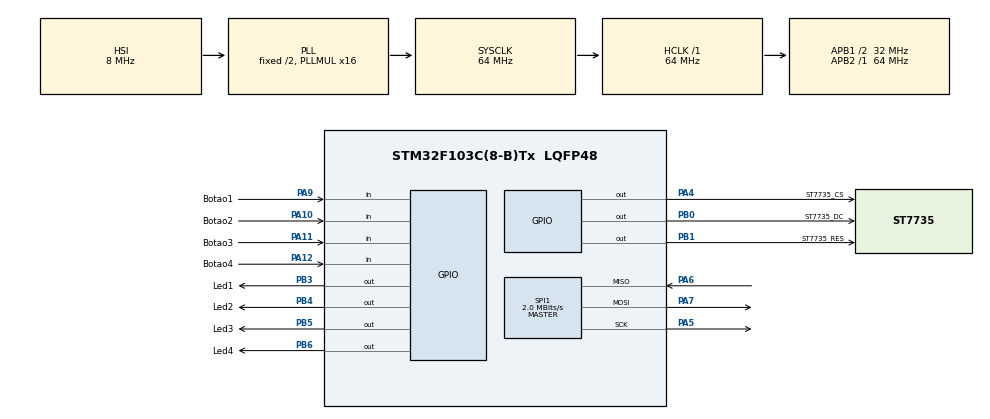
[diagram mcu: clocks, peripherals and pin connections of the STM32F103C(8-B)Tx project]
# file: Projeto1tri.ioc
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Mcu.Family=STM32F1
Mcu.Name=STM32F103C(8-B)Tx
Mcu.Package=LQFP48
NVIC.PriorityGroup=NVIC_PRIORITYGROUP_4
PA10.GPIO_Label=Botao2
PA10.GPIO_PuPd=GPIO_PULLUP
PA10.Signal=GPIO_Input
PA11.GPIO_Label=Botao3
PA11.GPIO_PuPd=GPIO_PULLUP
PA11.Signal=GPIO_Input
PA12.GPIO_Label=Botao4
PA12.GPIO_PuPd=GPIO_PULLUP
PA12.Signal=GPIO_Input
PA13.Mode=Serial_Wire
PA13.Signal=SYS_JTMS-SWDIO
PA14.Mode=Serial_Wire
PA14.Signal=SYS_JTCK-SWCLK
PA4.GPIO_Label=ST7735_CS 
PA4.Signal=GPIO_Output
PA5.Mode=Full_Duplex_Master
PA5.Signal=SPI1_SCK
PA6.Mode=Full_Duplex_Master
PA6.Signal=SPI1_MISO
PA7.Mode=Full_Duplex_Master
PA7.Signal=SPI1_MOSI
PA9.GPIO_Label=Botao1
PA9.GPIO_PuPd=GPIO_PULLUP
PA9.Signal=GPIO_Input
PB0.GPIO_Label=ST7735_DC
PB0.Signal=GPIO_Output
PB1.GPIO_Label=ST7735_RES
PB1.Signal=GPIO_Output
PB3.GPIO_Label=Led1
PB3.Signal=GPIO_Output
PB4.GPIO_Label=Led2
PB4.Signal=GPIO_Output
PB5.GPIO_Label=Led3
PB5.Signal=GPIO_Output
PB6.GPIO_Label=Led4
PB6.Signal=GPIO_Output
ProjectManager.HeapSize=0x200
ProjectManager.StackSize=0x400
ProjectManager.TargetToolchain=STM32CubeIDE
RCC.AHBFreq_Value=64000000
RCC.APB1CLKDivider=RCC_HCLK_DIV2
RCC.APB1Freq_Value=32000000
RCC.APB1TimFreq_Value=64000000
RCC.APB2Freq_Value=64000000
RCC.APB2TimFreq_Value=64000000
RCC.HCLKFreq_Value=64000000
RCC.PLLMUL=RCC_PLL_MUL16
RCC.SYSCLKFreq_VALUE=64000000
RCC.SYSCLKSource=RCC_SYSCLKSOURCE_PLLCLK
RCC.USBFreq_Value=64000000
SPI1.BaudRatePrescaler=SPI_BAUDRATEPRESCALER_32
SPI1.CLKPolarity=SPI_POLARITY_LOW
SPI1.CalculateBaudRate=2.0 MBits/s
SPI1.Direction=SPI_DIRECTION_2LINES
SPI1.Mode=SPI_MODE_MASTER
SPI1.VirtualType=VM_MASTER
board=custom

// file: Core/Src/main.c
/* USER CODE BEGIN Header */
/**
  ******************************************************************************
  * @file           : main.c
  * @brief          : Controle de Sala de Aula
  ******************************************************************************
  * @attention
  *
  * <h2><center>&copy; Copyright (c) 2026 STMicroelectronics.
  * All rights reserved.</center></h2>
  *
  * This software component is licensed by ST under BSD 3-Clause license,
  * the "License"; You may not use this file except in compliance with the
  * License. You may obtain a copy of the License at:
  *                        opensource.org/licenses/BSD-3-Clause
  *
  ******************************************************************************
  */
/* USER CODE END Header */

#include "main.h"
#include "st7735\st7735.h"
#include <stdlib.h>
#include <stdio.h>

/* USER CODE BEGIN PD */
#define LerB1 HAL_GPIO_ReadPin(Botao1_GPIO_Port, Botao1_Pin)
#define LerB2 HAL_GPIO_ReadPin(Botao2_GPIO_Port, Botao2_Pin)
#define LerB3 HAL_GPIO_ReadPin(Botao3_GPIO_Port, Botao3_Pin)
#define LerB4 HAL_GPIO_ReadPin(Botao4_GPIO_Port, Botao4_Pin)

#define LIGA_L1    HAL_GPIO_WritePin(Led1_GPIO_Port, Led1_Pin, GPIO_PIN_SET)
#define DESLIGA_L1 HAL_GPIO_WritePin(Led1_GPIO_Port, Led1_Pin, GPIO_PIN_RESET)
#define INVERTE_L1 HAL_GPIO_TogglePin(Led1_GPIO_Port, Led1_Pin)

#define LIGA_L2    HAL_GPIO_WritePin(Led2_GPIO_Port, Led2_Pin, GPIO_PIN_SET)
#define DESLIGA_L2 HAL_GPIO_WritePin(Led2_GPIO_Port, Led2_Pin, GPIO_PIN_RESET)
#define INVERTE_L2 HAL_GPIO_TogglePin(Led2_GPIO_Port, Led2_Pin)

#define LIGA_L3    HAL_GPIO_WritePin(Led3_GPIO_Port, Led3_Pin, GPIO_PIN_SET)
#define DESLIGA_L3 HAL_GPIO_WritePin(Led3_GPIO_Port, Led3_Pin, GPIO_PIN_RESET)
#define INVERTE_L3 HAL_GPIO_TogglePin(Led3_GPIO_Port, Led3_Pin)

#define LIGA_L4    HAL_GPIO_WritePin(Led4_GPIO_Port, Led4_Pin, GPIO_PIN_SET)
#define DESLIGA_L4 HAL_GPIO_WritePin(Led4_GPIO_Port, Led4_Pin, GPIO_PIN_RESET)
#define INVERTE_L4 HAL_GPIO_TogglePin(Led4_GPIO_Port, Led4_Pin)
/* USER CODE END PD */

/* USER CODE BEGIN PV */
int maxAlunos       = 10;
int maxFora         = 3;
int alunosPresentes = 0;
int alunosFora      = 0;
int totalSaidas     = 0;
int senhaGerada = 0;
int senhaDigitada   = 0;
int tentativas      = 0;
int digitos[4]      = {0, 0, 0, 0};
int posicao         = 0;
int limpouTela      = 0;
int matriculas[50];
char texto[50];
volatile int novaMatricula = 0;
GPIO_PinState B1, B2, B3, B4;

uint32_t inicioAula     = 0;
uint32_t fimAula        = 0;
uint32_t inicioSaida    = 0;
uint32_t tempoTotalFora = 0;
uint32_t duracaoAula    = 0;
/* USER CODE END PV */

SPI_HandleTypeDef hspi1;

void SystemClock_Config(void);
static void MX_GPIO_Init(void);
static void MX_SPI1_Init(void);

/* USER CODE BEGIN 0 */
void MostrarSenhaNosLEDs(void);
void ControleSaida(void);
void InterfaceSala(void);
void EsperaBotao(void);
void RelatorioFinal(void);
void ControlePresenca(void);

/* USER CODE END 0 */
int main(void)
{
    HAL_Init();
    SystemClock_Config();
    MX_GPIO_Init();
    MX_SPI1_Init();

    ST7735_Init();
    DESLIGA_L1; DESLIGA_L2; DESLIGA_L3; DESLIGA_L4;

    uint32_t seed = HAL_GetTick() ^ SysTick->VAL ^ SCB->ICSR;
    srand(seed);
    senhaGerada = rand() % 9000 + 1000;

    ST7735_FillScreen(BLACK);
    sprintf(texto, "Senha:%04d", senhaGerada);
    ST7735_WriteString(2, 10, "INICIO AULA",  Font_7x10, WHITE,  BLACK);
    ST7735_WriteString(2, 55, "P11=Iniciar",  Font_7x10, WHITE,  BLACK);
    ST7735_WriteString(2, 70, "P9=Ver Senha",  Font_7x10, GREEN,  BLACK);

    while(1)

    {
    	B1 = LerB1;
        if(B1 == GPIO_PIN_RESET)
        {
            EsperaBotao();
            MostrarSenhaNosLEDs();
        }

        B3 = LerB3;
        if(B3 == GPIO_PIN_RESET)
        {
            EsperaBotao();
            break;
        }
    }

    tentativas = 0;

    while(tentativas < 3)
    {
        for(int i = 0; i < 4; i++) digitos[i] = 0;
        posicao       = 0;
        senhaDigitada = 0;

        ST7735_FillScreen(BLACK);

        int confirmado = 0;
        while(!confirmado)
        {
            senhaDigitada =
                  digitos[0]
                + digitos[1] * 10
                + digitos[2] * 100
                + digitos[3] * 1000;

            ST7735_WriteString(2,  5, "Confirmar senha", Font_7x10, WHITE, BLACK);

            sprintf(texto, "Dig:%04d", senhaDigitada);
            ST7735_WriteString(2, 25, texto, Font_7x10, GREEN, BLACK);

            sprintf(texto, "Casa:%d", posicao + 1);
            ST7735_WriteString(2, 45, texto, Font_7x10, WHITE, BLACK);

            sprintf(texto, "Tent:%d", 3 - tentativas);
            ST7735_WriteString(2, 65, texto, Font_7x10, WHITE, BLACK);

            B1 = LerB1;
            B2 = LerB2;
            B3 = LerB3;
            B4 = LerB4;
            if(B1 == GPIO_PIN_RESET)
            {
                if(digitos[posicao] < 9) digitos[posicao]++;
                EsperaBotao();
            }
            else if(B2 == GPIO_PIN_RESET)
            {
                if(digitos[posicao] > 0) digitos[posicao]--;
                EsperaBotao();
            }

            else if(B4 == GPIO_PIN_RESET)
            {
                posicao++;
                if(posicao > 3) posicao = 0;
                EsperaBotao();
            }

            else if(B3 == GPIO_PIN_RESET)
            {
                EsperaBotao();
                confirmado = 1;
            }
        }

        if(senhaDigitada == senhaGerada)
        {
            inicioAula = HAL_GetTick();
            ST7735_FillScreen(BLACK);
            ST7735_WriteString(2, 35, "AULA INICIADA", Font_7x10, GREEN, BLACK);
            LIGA_L1;
            HAL_Delay(1500);
            DESLIGA_L1;
            break;
        }
        else
        {
            tentativas++;
            ST7735_FillScreen(BLACK);

            if(tentativas < 3)
            {
                ST7735_WriteString(2, 35, "SENHA ERRADA", Font_7x10, RED, BLACK);
                sprintf(texto, "Restam:%d", 3 - tentativas);
                ST7735_WriteString(2, 55, texto, Font_7x10, RED, BLACK);
                HAL_Delay(1500);
            }
        }
    }

    if(tentativas >= 3)
    {
        ST7735_FillScreen(BLACK);
        ST7735_WriteString(2, 25, "ACESSO NEGADO", Font_7x10, RED, BLACK);
        ST7735_WriteString(2, 45, "3 ERROS",       Font_7x10, RED, BLACK);
        LIGA_L4;
        while(1) { }
    }
    ST7735_FillScreen(BLACK);

    while(1)
    {
        sprintf(texto, "Max:%02d", maxAlunos);
        ST7735_WriteString(2,  10, "CONFIG TURMA",   Font_7x10, WHITE, BLACK);
        ST7735_WriteString(2,  35, texto,             Font_7x10, GREEN, BLACK);
        ST7735_WriteString(2,  55, "P11=Conf",        Font_7x10, WHITE, BLACK);
        ST7735_WriteString(65, 55, "P9=Registrar",    Font_7x10, WHITE, BLACK);
        ST7735_WriteString(2,  70, "P12=Mais",        Font_7x10, GREEN, BLACK);
        ST7735_WriteString(65, 70, "P10=Menos",       Font_7x10, RED,   BLACK);

        B1 = LerB1;
        if(B1 == GPIO_PIN_RESET)
        {
            EsperaBotao();
            if(alunosPresentes < maxAlunos)
            {
                alunosPresentes++;
                ST7735_FillScreen(BLACK);
                ST7735_WriteString(2, 40, "REGISTRADO", Font_7x10, GREEN, BLACK);
                LIGA_L2; HAL_Delay(1000); DESLIGA_L2;
            }
            else
            {
                ST7735_FillScreen(BLACK);
                ST7735_WriteString(2, 30, "TURMA LOTADA", Font_7x10, RED, BLACK);
                HAL_Delay(1000);
            }
            ST7735_FillScreen(BLACK);
        }

        B3 = LerB3;
        B4 = LerB4;
        B2 = LerB2;
        if(B4 == GPIO_PIN_RESET)
        {
            if(maxAlunos < 50) maxAlunos++;
            EsperaBotao();
        }
        else if(B2 == GPIO_PIN_RESET)
        {
            if(maxAlunos > 1) maxAlunos--;
            EsperaBotao();
        }
        else if(B3 == GPIO_PIN_RESET)
        {
            EsperaBotao();
            break;
        }
    }
    ST7735_FillScreen(BLACK);

    while(1)
    {
        ST7735_WriteString(2,  5, "MENU AULA",    Font_7x10, WHITE, BLACK);
        ST7735_WriteString(2, 22, "P9=Presenca",  Font_7x10, GREEN, BLACK);
        ST7735_WriteString(2, 38, "P10=Banheiro", Font_7x10, GREEN, BLACK);
        ST7735_WriteString(2, 54, "P11=Status",   Font_7x10, WHITE, BLACK);
        ST7735_WriteString(2, 70, "P11+P12=Fim",  Font_7x10, RED,   BLACK);

        B1 = LerB1;
        if(B1 == GPIO_PIN_RESET)
        {
            EsperaBotao();
            ControlePresenca();
            ST7735_FillScreen(BLACK);
        }

        B2 = LerB2;
        if(B2 == GPIO_PIN_RESET)
        {
            EsperaBotao();
            ControleSaida();
            ST7735_FillScreen(BLACK);
        }

        B3 = LerB3;
        B4 = LerB4;
        if(B3 == GPIO_PIN_RESET)
        {
            B4 = LerB4;
            HAL_Delay(200);
            if(B4 == GPIO_PIN_RESET)
            {
            	B3 = LerB3;
            	B4 = LerB4;
            	while(LerB3 == GPIO_PIN_RESET || LerB4 == GPIO_PIN_RESET) { }
            	        HAL_Delay(150);
            	        RelatorioFinal();
            	        break;
            }
            else
            {
                EsperaBotao();
                InterfaceSala();
                ST7735_FillScreen(BLACK);
            }
        }
    }

    while(1) { }
}

/* USER CODE BEGIN 4 */

void PiscarLED(int led, int vezes)
{
    if(vezes == 0)
    {
        switch(led)
        {
            case 1: LIGA_L1; HAL_Delay(600); DESLIGA_L1; break;
            case 2: LIGA_L2; HAL_Delay(600); DESLIGA_L2; break;
            case 3: LIGA_L3; HAL_Delay(600); DESLIGA_L3; break;
            case 4: LIGA_L4; HAL_Delay(600); DESLIGA_L4; break;
        }
        HAL_Delay(300);
        return;
    }

    for(int i = 0; i < vezes; i++)
    {
        switch(led)
        {
            case 1: LIGA_L1; HAL_Delay(200); DESLIGA_L1; break;
            case 2: LIGA_L2; HAL_Delay(200); DESLIGA_L2; break;
            case 3: LIGA_L3; HAL_Delay(200); DESLIGA_L3; break;
            case 4: LIGA_L4; HAL_Delay(200); DESLIGA_L4; break;
        }
        HAL_Delay(150);
    }
    HAL_Delay(400);
}
void MostrarSenhaNosLEDs(void)
{
    DESLIGA_L1; DESLIGA_L2; DESLIGA_L3; DESLIGA_L4;
    HAL_Delay(500);

    int d3 = (senhaGerada / 1000) % 10;
    int d2 = (senhaGerada / 100)  % 10;
    int d1 = (senhaGerada / 10)   % 10;
    int d0 = (senhaGerada / 1)    % 10;

    PiscarLED(1, d3);
    HAL_Delay(400);

    PiscarLED(2, d2);
    HAL_Delay(400);

    PiscarLED(3, d1);
    HAL_Delay(400);

    PiscarLED(4, d0);
    HAL_Delay(400);

    DESLIGA_L1; DESLIGA_L2; DESLIGA_L3; DESLIGA_L4;
}
void EsperaBotao(void)
{
    HAL_Delay(150);

    while(1)
    {
        B1 = LerB1;
        B2 = LerB2;
        B3 = LerB3;
        B4 = LerB4;

        if(B1 == GPIO_PIN_SET &&
           B2 == GPIO_PIN_SET &&
           B3 == GPIO_PIN_SET &&
           B4 == GPIO_PIN_SET)
        {
            break;
        }
    }
}
void ControlePresenca(void)
{
    ST7735_FillScreen(BLACK);

    while(1)
    {
        sprintf(texto, "Max:%d", maxAlunos);
        ST7735_WriteString(2,  5, texto,      Font_7x10, WHITE, BLACK);

        sprintf(texto, "Alunos:%d", alunosPresentes);
        ST7735_WriteString(2, 25, texto,      Font_7x10, GREEN, BLACK);

        ST7735_WriteString(2, 45, "P10=Criar", Font_7x10, WHITE, BLACK);
        ST7735_WriteString(2, 65, "P12=Sair",  Font_7x10, WHITE, BLACK);

        B1 = LerB1;
        B2 = LerB2;
        B3 = LerB3;
        B4 = LerB4;

        if(B2 == GPIO_PIN_RESET)
        {
            EsperaBotao();

            if(alunosPresentes < maxAlunos)
            {
                matriculas[alunosPresentes] = alunosPresentes + 1;
                alunosPresentes++;

                ST7735_FillScreen(BLACK);
                ST7735_WriteString(2, 15, "MATRICULA CRIADA", Font_7x10, GREEN, BLACK);
                sprintf(texto, "Matricula:%d", matriculas[alunosPresentes - 1]);
                ST7735_WriteString(2, 35, texto, Font_7x10, YELLOW, BLACK);
                HAL_Delay(1500);
                ST7735_FillScreen(BLACK);
            }
            else
            {
                ST7735_FillScreen(BLACK);
                ST7735_WriteString(2, 35, "TURMA LOTADA", Font_7x10, RED, BLACK);
                HAL_Delay(1000);
                ST7735_FillScreen(BLACK);
            }
        }

        if(B4 == GPIO_PIN_RESET)
        {
            EsperaBotao();
            break;
        }
    }     HAL_Delay(1000);
}
void ControleSaida(void)
{
    ST7735_FillScreen(BLACK);

    while(1)
    {
        sprintf(texto, "Fora:%d/%d", alunosFora, maxFora);
        ST7735_WriteString(2,  5, texto,         Font_7x10, WHITE, BLACK);
        ST7735_WriteString(2, 25, "P9=Sair",     Font_7x10, GREEN, BLACK);
        ST7735_WriteString(2, 45, "P10=Volta",   Font_7x10, GREEN, BLACK);
        ST7735_WriteString(2, 65, "P12=Menu",    Font_7x10, WHITE, BLACK);

        B1 = LerB1;
        B2 = LerB2;
        B3 = LerB3;
        B4 = LerB4;

        if(B1 == GPIO_PIN_RESET)
        {
            EsperaBotao();

            if(alunosPresentes == 0)
            {
                ST7735_FillScreen(BLACK);
                ST7735_WriteString(2, 35, "SEM ALUNOS", Font_7x10, RED, BLACK);
                LIGA_L4; HAL_Delay(1000); DESLIGA_L4;
                ST7735_FillScreen(BLACK);
            }
            else if(alunosFora >= alunosPresentes)
            {
                ST7735_FillScreen(BLACK);
                ST7735_WriteString(2, 25, "TODOS JA",    Font_7x10, RED, BLACK);
                ST7735_WriteString(2, 45, "ESTAO FORA",  Font_7x10, RED, BLACK);
                LIGA_L4; HAL_Delay(1000); DESLIGA_L4;
                ST7735_FillScreen(BLACK);
            }
            else if(alunosFora >= maxFora)
            {
                ST7735_FillScreen(BLACK);
                ST7735_WriteString(2, 35, "LIMITE ATINGIDO", Font_7x10, RED, BLACK);
                LIGA_L4; HAL_Delay(1000); DESLIGA_L4;
                ST7735_FillScreen(BLACK);
            }
            else
            {
                alunosFora++;
                inicioSaida = HAL_GetTick();
                totalSaidas++;

                ST7735_FillScreen(BLACK);
                ST7735_WriteString(2, 35, "SAIDA LIBERADA", Font_7x10, GREEN, BLACK);
                sprintf(texto, "Fora:%d/%d", alunosFora, maxFora);
                ST7735_WriteString(2, 55, texto, Font_7x10, WHITE, BLACK);
                LIGA_L3; HAL_Delay(1000); DESLIGA_L3;
                ST7735_FillScreen(BLACK);
            }
        }
        else if(B2 == GPIO_PIN_RESET)
        {
            EsperaBotao();

            if(alunosFora > 0)
            {
                uint32_t tempoFora = (HAL_GetTick() - inicioSaida) / 1000;
                alunosFora--;
                tempoTotalFora += tempoFora;

                ST7735_FillScreen(BLACK);
                ST7735_WriteString(2, 15, "ALUNO VOLTOU",   Font_7x10, GREEN, BLACK);
                sprintf(texto, "Tempo:%lds", tempoFora);
                ST7735_WriteString(2, 40, texto,            Font_7x10, WHITE, BLACK);
                HAL_Delay(2000);
            }
            ST7735_FillScreen(BLACK);
        }
        else if(B4 == GPIO_PIN_RESET)
        {
            EsperaBotao();
            break;
        }
    }
}
void InterfaceSala(void)
{
    ST7735_FillScreen(BLACK);
    ST7735_WriteString(15, 5, "STATUS SALA", Font_7x10, WHITE, BLACK);

    while(1)
    {
        sprintf(texto, "Presentes:%d/%d", alunosPresentes, maxAlunos);
        ST7735_WriteString(2, 25, texto, Font_7x10, GREEN, BLACK);

        int barra = (alunosPresentes * 96) / maxAlunos;
        ST7735_FillRectangle(10, 45, 100, 10, WHITE);
        ST7735_FillRectangle(12, 47, barra,  6, GREEN);

        sprintf(texto, "Fora:%d/%d", alunosFora, maxFora);
        ST7735_WriteString(2, 60, texto, Font_7x10, WHITE, BLACK);
        B1 = LerB1;
        B2 = LerB2;
        B3 = LerB3;
        B4 = LerB4;
        if(alunosFora >= maxFora)
            ST7735_WriteString(80, 60, "OCUPADO", Font_7x10, RED,   BLACK);
        else
            ST7735_WriteString(80, 60, "LIVRE  ", Font_7x10, GREEN, BLACK);

        if(B4 == GPIO_PIN_RESET)
        {
            EsperaBotao();
            break;
        }
        HAL_Delay(200);
    }
}
void RelatorioFinal(void)
{
    ST7735_FillScreen(BLACK);

    fimAula     = HAL_GetTick();
    duracaoAula = (fimAula - inicioAula) / 1000;

    while(1)
    {
        sprintf(texto, "Alunos:%d",   alunosPresentes);
        ST7735_WriteString(2,  5, texto, Font_7x10, GREEN, BLACK);

        sprintf(texto, "Saidas:%d",   totalSaidas);
        ST7735_WriteString(2, 20, texto, Font_7x10, WHITE, BLACK);

        sprintf(texto, "Tempo:%lds",  duracaoAula);
        ST7735_WriteString(2, 35, texto, Font_7x10, WHITE, BLACK);

        sprintf(texto, "TempoTotal:%lds", tempoTotalFora);
        ST7735_WriteString(2, 50, texto, Font_7x10, WHITE, BLACK);
    }
}
/* USER CODE END 4 */

void SystemClock_Config(void)
{
    RCC_OscInitTypeDef RCC_OscInitStruct = {0};
    RCC_ClkInitTypeDef RCC_ClkInitStruct = {0};

    RCC_OscInitStruct.OscillatorType      = RCC_OSCILLATORTYPE_HSI;
    RCC_OscInitStruct.HSIState            = RCC_HSI_ON;
    RCC_OscInitStruct.HSICalibrationValue = RCC_HSICALIBRATION_DEFAULT;
    RCC_OscInitStruct.PLL.PLLState        = RCC_PLL_ON;
    RCC_OscInitStruct.PLL.PLLSource       = RCC_PLLSOURCE_HSI_DIV2;
    RCC_OscInitStruct.PLL.PLLMUL          = RCC_PLL_MUL16;
    if(HAL_RCC_OscConfig(&RCC_OscInitStruct) != HAL_OK) Error_Handler();

    RCC_ClkInitStruct.ClockType      = RCC_CLOCKTYPE_HCLK | RCC_CLOCKTYPE_SYSCLK
                                     | RCC_CLOCKTYPE_PCLK1 | RCC_CLOCKTYPE_PCLK2;
    RCC_ClkInitStruct.SYSCLKSource   = RCC_SYSCLKSOURCE_PLLCLK;
    RCC_ClkInitStruct.AHBCLKDivider  = RCC_SYSCLK_DIV1;
    RCC_ClkInitStruct.APB1CLKDivider = RCC_HCLK_DIV2;
    RCC_ClkInitStruct.APB2CLKDivider = RCC_HCLK_DIV1;
    if(HAL_RCC_ClockConfig(&RCC_ClkInitStruct, FLASH_LATENCY_2) != HAL_OK) Error_Handler();
}

static void MX_SPI1_Init(void)
{
    hspi1.Instance               = SPI1;
    hspi1.Init.Mode              = SPI_MODE_MASTER;
    hspi1.Init.Direction         = SPI_DIRECTION_2LINES;
    hspi1.Init.DataSize          = SPI_DATASIZE_8BIT;
    hspi1.Init.CLKPolarity       = SPI_POLARITY_LOW;
    hspi1.Init.CLKPhase          = SPI_PHASE_1EDGE;
    hspi1.Init.NSS               = SPI_NSS_SOFT;
    hspi1.Init.BaudRatePrescaler = SPI_BAUDRATEPRESCALER_32;
    hspi1.Init.FirstBit          = SPI_FIRSTBIT_MSB;
    hspi1.Init.TIMode            = SPI_TIMODE_DISABLE;
    hspi1.Init.CRCCalculation    = SPI_CRCCALCULATION_DISABLE;
    hspi1.Init.CRCPolynomial     = 10;
    if(HAL_SPI_Init(&hspi1) != HAL_OK) Error_Handler();
}

static void MX_GPIO_Init(void)
{
    GPIO_InitTypeDef GPIO_InitStruct = {0};

    __HAL_RCC_GPIOA_CLK_ENABLE();
    __HAL_RCC_GPIOB_CLK_ENABLE();

    HAL_GPIO_WritePin(ST7735_CS_GPIO_Port, ST7735_CS_Pin, GPIO_PIN_RESET);
    HAL_GPIO_WritePin(GPIOB, ST7735_DC_Pin | ST7735_RES_Pin |
                             Led1_Pin | Led2_Pin | Led3_Pin | Led4_Pin, GPIO_PIN_RESET);

    GPIO_InitStruct.Pin   = ST7735_CS_Pin;
    GPIO_InitStruct.Mode  = GPIO_MODE_OUTPUT_PP;
    GPIO_InitStruct.Pull  = GPIO_NOPULL;
    GPIO_InitStruct.Speed = GPIO_SPEED_FREQ_LOW;
    HAL_GPIO_Init(ST7735_CS_GPIO_Port, &GPIO_InitStruct);

    GPIO_InitStruct.Pin = ST7735_DC_Pin | ST7735_RES_Pin |
                          Led1_Pin | Led2_Pin | Led3_Pin | Led4_Pin;
    HAL_GPIO_Init(GPIOB, &GPIO_InitStruct);

    GPIO_InitStruct.Pin  = Botao1_Pin | Botao2_Pin | Botao3_Pin | Botao4_Pin;
    GPIO_InitStruct.Mode = GPIO_MODE_INPUT;
    GPIO_InitStruct.Pull = GPIO_PULLUP;
    HAL_GPIO_Init(GPIOA, &GPIO_InitStruct);
}

void Error_Handler(void)
{
    __disable_irq();
    while(1) { }
}
